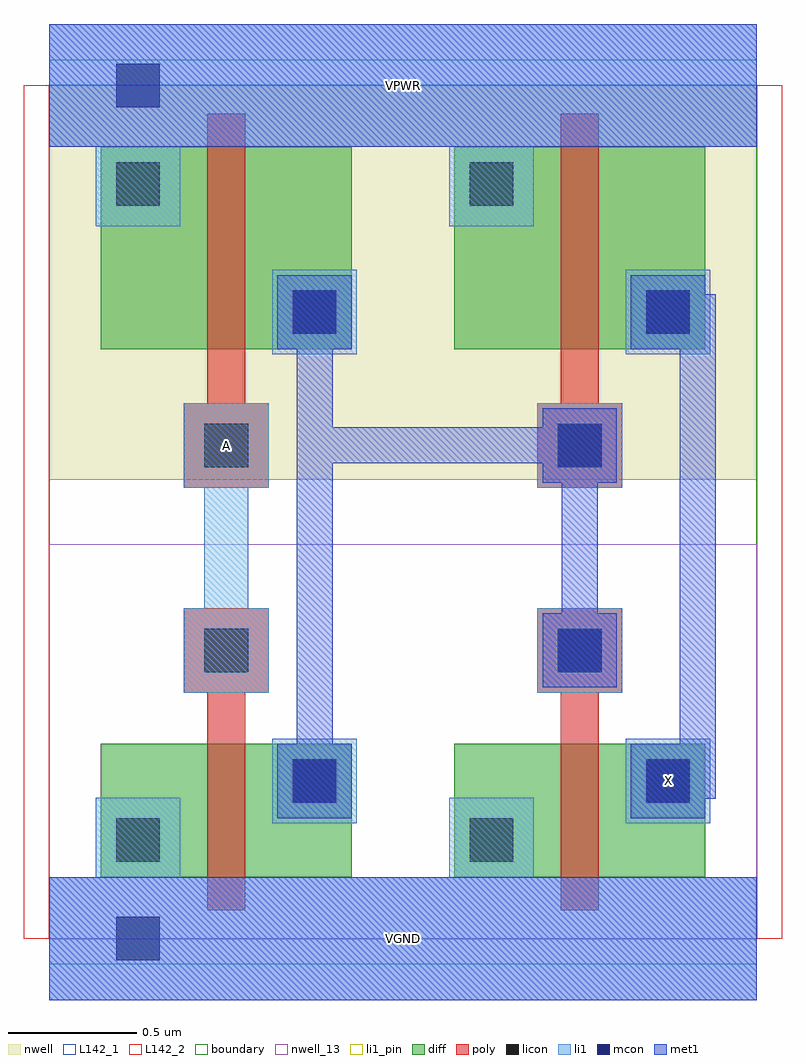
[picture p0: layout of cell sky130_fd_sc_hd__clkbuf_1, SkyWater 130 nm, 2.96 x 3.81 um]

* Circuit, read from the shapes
.subckt sky130_fd_sc_hd__clkbuf_1 A VGND VPWR X
XM1 n1 A VGND VSUBS sky130_fd_pr__nfet_01v8 w=0.52 l=0.15
XM2 X n1 VGND VSUBS sky130_fd_pr__nfet_01v8 w=0.52 l=0.15
XM3 n1 A VPWR n2 sky130_fd_pr__pfet_01v8 w=0.79 l=0.15
XM4 X n1 VPWR n2 sky130_fd_pr__pfet_01v8 w=0.79 l=0.15
.ends

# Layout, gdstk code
import gdstk
lib = gdstk.Library(unit=1e-6, precision=1e-09)
def R(c, l, rs):  # rectangles x0, y0, x1, y1
    for r in rs: c.add(gdstk.rectangle(r[:2], r[2:], *l))
def P(c, l, *ps):  # polygons
    for p in ps: c.add(gdstk.Polygon(p, *l))
nwell_13 = (64, 13)
nwell = (64, 20)
diff = (65, 20)
poly = (66, 20)
licon = (66, 44)
li1_pin = (67, 16)
li1 = (67, 20)
mcon = (67, 44)
met1 = (68, 20)
L142_1 = (142, 1)
L142_2 = (142, 2)
boundary = (235, 4)

sky130_fd_sc_hd__clkbuf_ = lib.new_cell('sky130_fd_sc_hd__clkbuf_1')
R(sky130_fd_sc_hd__clkbuf_, nwell_13, [(0,0,2.76,1.54)])
R(sky130_fd_sc_hd__clkbuf_, nwell, [(0,1.79,2.76,3.33)])
R(sky130_fd_sc_hd__clkbuf_, diff, [(0.2,0.24,1.18,0.76), (0.2,0.24,0.615,0.76), (0.615,0.24,1.18,0.76), (1.58,0.24,2.56,0.76), (1.58,0.24,1.995,0.76), (1.995,0.24,2.56,0.76), (0.2,2.3,1.18,3.09), (0.2,2.3,0.615,3.09), (0.615,2.3,1.18,3.09), (1.58,2.3,2.56,3.09), (1.58,2.3,1.995,3.09), (1.995,2.3,2.56,3.09)])
P(sky130_fd_sc_hd__clkbuf_, poly, [(0.615,0.11),(0.615,0.96),(0.525,0.96),(0.525,1.29),(0.855,1.29),(0.855,0.96),(0.765,0.96),(0.765,0.11)],
  [(0.525,1.76),(0.525,2.09),(0.615,2.09),(0.615,3.22),(0.765,3.22),(0.765,2.09),(0.855,2.09),(0.855,1.76)],
  [(1.995,0.11),(1.995,0.96),(1.905,0.96),(1.905,1.29),(2.235,1.29),(2.235,0.96),(2.145,0.96),(2.145,0.11)],
  [(1.905,1.76),(1.905,2.09),(1.995,2.09),(1.995,3.22),(2.145,3.22),(2.145,2.09),(2.235,2.09),(2.235,1.76)])
R(sky130_fd_sc_hd__clkbuf_, licon, [(0.26,0.3,0.43,0.47), (1.64,0.3,1.81,0.47), (0.95,0.53,1.12,0.7), (2.33,0.53,2.5,0.7), (0.605,1.04,0.775,1.21), (1.985,1.04,2.155,1.21), (0.605,1.84,0.775,2.01), (1.985,1.84,2.155,2.01), (0.95,2.36,1.12,2.53), (2.33,2.36,2.5,2.53), (0.26,2.86,0.43,3.03), (1.64,2.86,1.81,3.03)])
R(sky130_fd_sc_hd__clkbuf_, li1_pin, [(0,-0.24,2.76,0.24), (2.25,0.45,2.58,0.78), (0,3.09,2.76,3.57)])
P(sky130_fd_sc_hd__clkbuf_, li1_pin, [(0.525,0.96),(0.525,1.29),(0.605,1.29),(0.605,1.76),(0.525,1.76),(0.525,2.09),(0.855,2.09),(0.855,1.76),(0.775,1.76),(0.775,1.29),(0.855,1.29),(0.855,0.96)])
R(sky130_fd_sc_hd__clkbuf_, li1, [(0.87,0.45,1.2,0.78), (2.25,0.45,2.58,0.78), (1.905,0.96,2.235,1.29), (1.905,1.76,2.235,2.09), (0.87,2.28,1.2,2.61), (2.25,2.28,2.58,2.61)])
P(sky130_fd_sc_hd__clkbuf_, li1, [(0.18,2.78),(0.18,3.09),(0,3.09),(0,3.57),(2.76,3.57),(2.76,3.09),(1.89,3.09),(1.89,2.78),(1.56,2.78),(1.56,3.09),(0.51,3.09),(0.51,2.78)],
  [(0,-0.24),(0,0.24),(0.18,0.24),(0.18,0.55),(0.51,0.55),(0.51,0.24),(1.56,0.24),(1.56,0.55),(1.89,0.55),(1.89,0.24),(2.76,0.24),(2.76,-0.24)],
  [(0.525,0.96),(0.525,1.29),(0.605,1.29),(0.605,1.76),(0.525,1.76),(0.525,2.09),(0.855,2.09),(0.855,1.76),(0.775,1.76),(0.775,1.29),(0.855,1.29),(0.855,0.96)])
R(sky130_fd_sc_hd__clkbuf_, mcon, [(0.26,-0.085,0.43,0.085), (0.95,0.53,1.12,0.7), (2.33,0.53,2.5,0.7), (1.985,1.04,2.155,1.21), (1.985,1.84,2.155,2.01), (0.95,2.36,1.12,2.53), (2.33,2.36,2.5,2.53), (0.26,3.245,0.43,3.415)])
R(sky130_fd_sc_hd__clkbuf_, met1, [(0,-0.24,2.76,0.24), (0,3.09,2.76,3.57)])
P(sky130_fd_sc_hd__clkbuf_, met1, [(0.89,0.47),(0.89,0.76),(0.965,0.76),(0.965,2.3),(0.89,2.3),(0.89,2.59),(1.18,2.59),(1.18,2.3),(1.105,2.3),(1.105,1.995),(1.925,1.995),(1.925,2.07),(2.215,2.07),(2.215,1.78),(2.14,1.78),(2.14,1.27),(2.215,1.27),(2.215,0.98),(1.925,0.98),(1.925,1.27),(2,1.27),(2,1.78),(1.925,1.78),(1.925,1.855),(1.105,1.855),(1.105,0.76),(1.18,0.76),(1.18,0.47)],
  [(2.27,0.47),(2.27,0.76),(2.46,0.76),(2.46,2.3),(2.27,2.3),(2.27,2.59),(2.56,2.59),(2.56,2.515),(2.6,2.515),(2.6,0.545),(2.56,0.545),(2.56,0.47)])
R(sky130_fd_sc_hd__clkbuf_, L142_1, [(0,-0.1,2.76,0), (0,3.33,2.76,3.43)])
R(sky130_fd_sc_hd__clkbuf_, L142_2, [(-0.1,0,0,3.33), (2.76,0,2.86,3.33)])
R(sky130_fd_sc_hd__clkbuf_, boundary, [(0,0,2.76,3.33)])
sky130_fd_sc_hd__clkbuf_.add(gdstk.Label('X', (2.415,0.615), layer=67, texttype=5))
sky130_fd_sc_hd__clkbuf_.add(gdstk.Label('A', (0.69,1.925), layer=67, texttype=5))
sky130_fd_sc_hd__clkbuf_.add(gdstk.Label('VGND', (1.38,0), layer=67, texttype=5))
sky130_fd_sc_hd__clkbuf_.add(gdstk.Label('VPWR', (1.38,3.33), layer=67, texttype=5))
sky130_fd_sc_hd__clkbuf_.add(gdstk.Label('VGND', (1.38,0), layer=68, texttype=5))
sky130_fd_sc_hd__clkbuf_.add(gdstk.Label('VPWR', (1.38,3.33), layer=68, texttype=5))

lib.write_gds('sky130_fd_sc_hd__clkbuf_1.gds')
